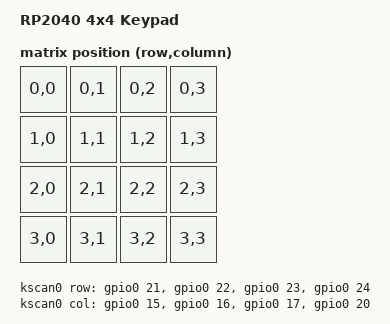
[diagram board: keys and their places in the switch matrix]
/*
 * Copyright (c) 2025 Custom RP2040 4x4 Keypad
 *
 * SPDX-License-Identifier: MIT
 */

/dts-v1/;
#include <rpi_pico/rp2040.dtsi>
#include <dt-bindings/zmk/matrix_transform.h>

#include "rp2040_4x4-layouts.dtsi"

/ {
    model = "RP2040 4x4 Keypad";
    compatible = "custom,rp2040-4x4", "raspberrypi,rp2040";

    chosen {
        zephyr,code-partition = &code_partition;
        zephyr,sram = &sram0;
        zephyr,flash = &flash0;
        zephyr,console = &uart0;
        zephyr,shell-uart = &uart0;
        zmk,kscan = &kscan0;
        zmk,matrix_transform = &default_transform;
        zmk,physical-layout = &default_layout;
    };

    xtal_clk: xtal-clk {
        compatible = "fixed-clock";
        clock-frequency = <12000000>;
        #clock-cells = <0>;
    };

    default_transform: keymap_transform_0 {
        compatible = "zmk,matrix-transform";
        columns = <4>;
        rows = <4>;
        map = <
            RC(0,0) RC(0,1) RC(0,2) RC(0,3)
            RC(1,0) RC(1,1) RC(1,2) RC(1,3)
            RC(2,0) RC(2,1) RC(2,2) RC(2,3)
            RC(3,0) RC(3,1) RC(3,2) RC(3,3)
        >;
    };

    kscan0: kscan {
        compatible = "zmk,kscan-gpio-matrix";
        diode-direction = "col2row";

        /* row and column pin assignments */
        row-gpios
            = <&gpio0 21 (GPIO_ACTIVE_HIGH | GPIO_PULL_DOWN)>
            , <&gpio0 22 (GPIO_ACTIVE_HIGH | GPIO_PULL_DOWN)>
            , <&gpio0 23 (GPIO_ACTIVE_HIGH | GPIO_PULL_DOWN)>
            , <&gpio0 24 (GPIO_ACTIVE_HIGH | GPIO_PULL_DOWN)>
            ;
        col-gpios
            = <&gpio0 15 GPIO_ACTIVE_HIGH>
            , <&gpio0 16 GPIO_ACTIVE_HIGH>
            , <&gpio0 17 GPIO_ACTIVE_HIGH>
            , <&gpio0 20 GPIO_ACTIVE_HIGH>
            ;
    };
};

&flash0 {
    reg = <0x10000000 DT_SIZE_M(2)>;

    partitions {
        compatible = "fixed-partitions";
        #address-cells = <1>;
        #size-cells = <1>;

        /* Reserved memory for the second stage bootloader */
        second_stage_bootloader: partition@0 {
            label = "second_stage_bootloader";
            reg = <0x00000000 0x00000100>;
            read-only;
        };

        /*
         * Usable flash. Starts at 0x100, after the bootloader. The partition
         * size is 2MB minus the 0x100 bytes taken by the bootloader.
         */
        code_partition: partition@100 {
            label = "code-partition";
            reg = <0x00000100 (DT_SIZE_M(2) - 0x100)>;
        };
    };
};

&gpio0 {
    status = "okay";
};

&usbd {
    status = "okay";
};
